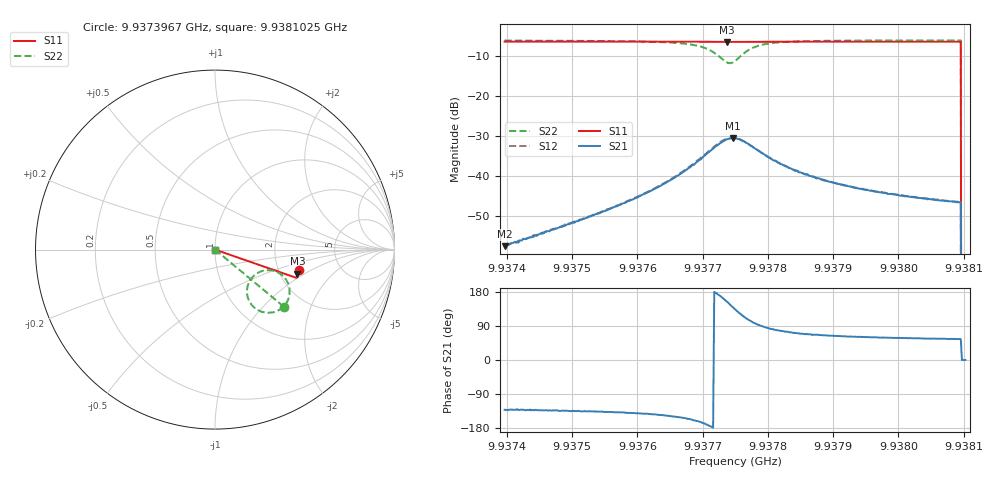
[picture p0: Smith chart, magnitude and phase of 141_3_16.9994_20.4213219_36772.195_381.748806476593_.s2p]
#  HZ  S  RI  R  50.00
! Rohde & Schwarz Vector Network Analyzer
! Rohde-Schwarz,ZNB20-2Port,1311601062101988,3.16
! Created: UTC 3/20/2024, 10:58:21 PM
! freq[Hz]  re:S11  im:S11  re:S21  im:S21  re:S12  im:S12  re:S22  im:S22
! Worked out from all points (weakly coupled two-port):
!   401 points, 9.9373967 GHz to 9.9381025 GHz, reference 50 ohm
!   highest |S21| = -30.53 dB at 9.9377461 GHz (marker M1); lowest = -57.6 dB at 9.9373967 GHz (marker M2)
!   lowest |S11| = -6.4 dB at 9.9377373 GHz (marker M3), VSWR 2.83, Z = 124 - j43.1 ohm
!   |S11| at or under -10 dB: 9.9380955 GHz to end of sweep
!   |S22| runs from - to -6.0 dB; largest |S21 - S12| = 0.0014
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9.93739672e9  0.4697 -0.1127  -0.000875 -0.000992  -0.000921 -0.000978  0.3821 -0.3177
9.93751494e9  0.467 -0.1207  -0.00203 -0.00198  -0.00204 -0.00204  0.3663 -0.3303
9.93757317e9  0.4659 -0.1247  -0.00325 -0.00289  -0.00329 -0.00286  0.3523 -0.3384
9.93763316e9  0.4641 -0.1288  -0.00602 -0.00423  -0.00621 -0.00427  0.3255 -0.3487
9.93767022e9  0.4629 -0.1314  -0.00997 -0.00515  -0.0103 -0.00507  0.2904 -0.352
9.93769845e9  0.4614 -0.1333  -0.016 -0.0043  -0.0168 -0.00401  0.2402 -0.3378
9.93771786e9  0.4602 -0.134  -0.0228 0.000177  -0.0235 0.000863  0.1934 -0.2911
9.93772844e9  0.4594 -0.1342  -0.0256 0.00593  -0.0262 0.00704  0.1783 -0.2399
9.93773727e9  0.4589 -0.1339  -0.0259 0.0125  -0.0259 0.014  0.1878 -0.1866
9.93774609e9  0.4591 -0.1339  -0.0227 0.0192  -0.0225 0.0204  0.2236 -0.1399
9.93774962e9  0.4591 -0.1337  -0.0205 0.0212  -0.0201 0.0224  0.2435 -0.1271
9.93775844e9  0.4596 -0.1339  -0.0145 0.0242  -0.0137 0.0251  0.297 -0.1147
9.93776903e9  0.4602 -0.1344  -0.00764 0.0244  -0.00681 0.0246  0.3499 -0.1271
9.93778844e9  0.4605 -0.136  -0.000252 0.0199  0.000381 0.02  0.3991 -0.1728
9.9378202e9  0.4603 -0.1389  0.0033 0.0137  0.00345 0.0138  0.4159 -0.2281
9.9378449e9  0.4599 -0.1406  0.00385 0.011  0.00395 0.0109  0.4145 -0.2528
9.93786784e9  0.4596 -0.1424  0.00401 0.00909  0.004 0.00897  0.4111 -0.268
9.93791901e9  0.4582 -0.146  0.00353 0.00669  0.00368 0.00667  0.4029 -0.2885
9.93798606e9  0.4564 -0.1503  0.00312 0.0051  0.00322 0.00508  0.3942 -0.3037
9.93809193e9  0.4539 -0.1573  0.00267 0.00388  0.00274 0.00387  0.3839 -0.3179
9.93810075e9  0 0  0 0  0 0  0 0
9.93810252e9  0 0  0 0  0 0  0 0
